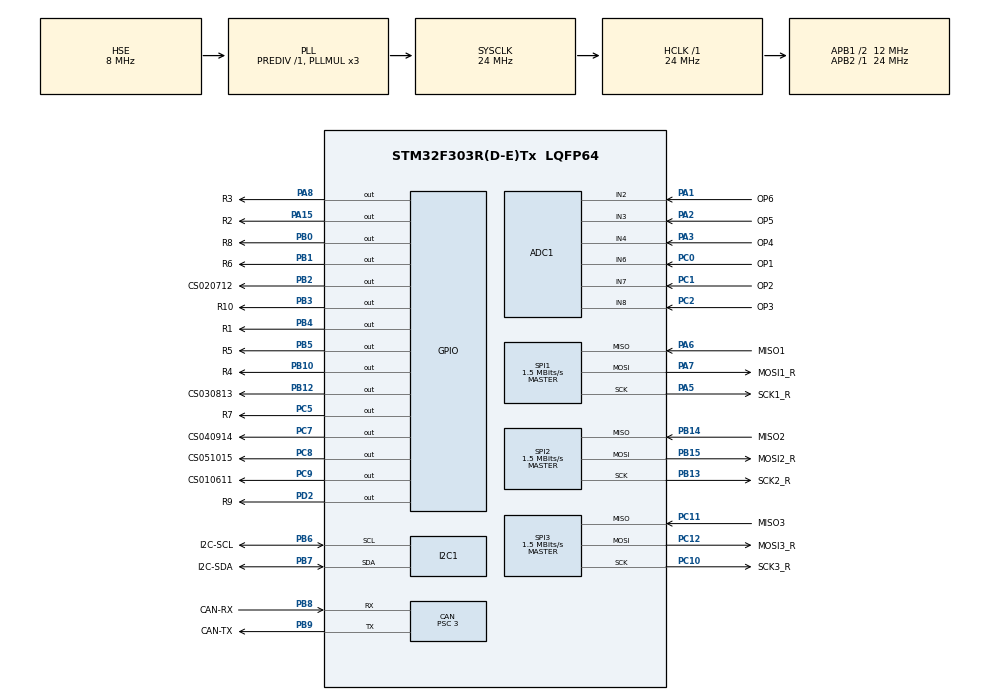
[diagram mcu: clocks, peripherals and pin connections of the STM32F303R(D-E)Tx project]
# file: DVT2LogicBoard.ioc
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ADC1.Channel-0\#ChannelRegularConversion=ADC_CHANNEL_6
ADC1.Channel-1\#ChannelRegularConversion=ADC_CHANNEL_7
ADC1.Channel-2\#ChannelRegularConversion=ADC_CHANNEL_8
ADC1.Channel-3\#ChannelRegularConversion=ADC_CHANNEL_4
ADC1.Channel-4\#ChannelRegularConversion=ADC_CHANNEL_3
ADC1.Channel-5\#ChannelRegularConversion=ADC_CHANNEL_2
ADC1.ContinuousConvMode=ENABLE
ADC1.DMAContinuousRequests=ENABLE
ADC1.EOCSelection=ADC_EOC_SEQ_CONV
ADC1.NbrOfConversion=6
ADC1.NbrOfConversionFlag=1
ADC1.Offset-0\#ChannelRegularConversion=0
ADC1.Offset-1\#ChannelRegularConversion=0
ADC1.Offset-2\#ChannelRegularConversion=0
ADC1.Offset-3\#ChannelRegularConversion=0
ADC1.Offset-4\#ChannelRegularConversion=0
ADC1.Offset-5\#ChannelRegularConversion=0
ADC1.OffsetNumber-0\#ChannelRegularConversion=ADC_OFFSET_NONE
ADC1.OffsetNumber-1\#ChannelRegularConversion=ADC_OFFSET_NONE
ADC1.OffsetNumber-2\#ChannelRegularConversion=ADC_OFFSET_NONE
ADC1.OffsetNumber-3\#ChannelRegularConversion=ADC_OFFSET_NONE
ADC1.OffsetNumber-4\#ChannelRegularConversion=ADC_OFFSET_NONE
ADC1.OffsetNumber-5\#ChannelRegularConversion=ADC_OFFSET_NONE
ADC1.Rank-0\#ChannelRegularConversion=1
ADC1.Rank-1\#ChannelRegularConversion=2
ADC1.Rank-2\#ChannelRegularConversion=3
ADC1.Rank-3\#ChannelRegularConversion=4
ADC1.Rank-4\#ChannelRegularConversion=5
ADC1.Rank-5\#ChannelRegularConversion=6
ADC1.SamplingTime-0\#ChannelRegularConversion=ADC_SAMPLETIME_61CYCLES_5
ADC1.SamplingTime-1\#ChannelRegularConversion=ADC_SAMPLETIME_61CYCLES_5
ADC1.SamplingTime-2\#ChannelRegularConversion=ADC_SAMPLETIME_61CYCLES_5
ADC1.SamplingTime-3\#ChannelRegularConversion=ADC_SAMPLETIME_61CYCLES_5
ADC1.SamplingTime-4\#ChannelRegularConversion=ADC_SAMPLETIME_61CYCLES_5
ADC1.SamplingTime-5\#ChannelRegularConversion=ADC_SAMPLETIME_61CYCLES_5
ADC1.master=1
CAN.BS1=CAN_BS1_4TQ
CAN.BS2=CAN_BS2_3TQ
CAN.CalculateTimeQuantum=250.0
CAN.Prescaler=3
Dma.ADC1.0.Direction=DMA_PERIPH_TO_MEMORY
Dma.ADC1.0.Instance=DMA1_Channel1
Dma.ADC1.0.MemDataAlignment=DMA_MDATAALIGN_WORD
Dma.ADC1.0.MemInc=DMA_MINC_ENABLE
Dma.ADC1.0.Mode=DMA_CIRCULAR
Dma.ADC1.0.PeriphDataAlignment=DMA_PDATAALIGN_WORD
Dma.ADC1.0.PeriphInc=DMA_PINC_DISABLE
Dma.ADC1.0.Priority=DMA_PRIORITY_LOW
Dma.Request0=ADC1
Mcu.Family=STM32F3
Mcu.Name=STM32F303R(D-E)Tx
Mcu.Package=LQFP64
NVIC.DMA1_Channel1_IRQn=true\:0\:0\:false\:false\:true\:false\:true
NVIC.PriorityGroup=NVIC_PRIORITYGROUP_4
NVIC.USB_LP_CAN_RX0_IRQn=true\:0\:0\:false\:false\:true\:true\:true
PA0.GPIO_Label=WKUP
PA0.Mode=SYS_WakeUp0
PA0.Signal=SYS_WKUP1
PA1.GPIO_Label=OP6
PA1.Signal=SharedAnalog_PA1
PA13.GPIO_Label=SWDIO
PA13.Mode=Serial_Wire
PA13.Signal=SYS_JTMS-SWDIO
PA14.GPIO_Label=SWCLK
PA14.Mode=Serial_Wire
PA14.Signal=SYS_JTCK-SWCLK
PA15.GPIO_Label=R2
PA15.GPIO_PuPd=GPIO_PULLDOWN
PA15.GPIO_Speed=GPIO_SPEED_FREQ_MEDIUM
PA15.Signal=GPIO_Output
PA2.GPIO_Label=OP5
PA2.Signal=SharedAnalog_PA2
PA3.GPIO_Label=OP4
PA3.Signal=SharedAnalog_PA3
PA5.GPIO_Label=SCK1_R
PA5.Mode=Full_Duplex_Master
PA5.Signal=SPI1_SCK
PA6.GPIO_Label=MISO1
PA6.Mode=Full_Duplex_Master
PA6.Signal=SPI1_MISO
PA7.GPIO_Label=MOSI1_R
PA7.Mode=Full_Duplex_Master
PA7.Signal=SPI1_MOSI
PA8.GPIO_Label=R3
PA8.GPIO_PuPd=GPIO_PULLDOWN
PA8.GPIO_Speed=GPIO_SPEED_FREQ_MEDIUM
PA8.Signal=GPIO_Output
PB0.GPIO_Label=R8
PB0.GPIO_PuPd=GPIO_PULLDOWN
PB0.GPIO_Speed=GPIO_SPEED_FREQ_MEDIUM
PB0.Signal=GPIO_Output
PB1.GPIO_Label=R6
PB1.GPIO_PuPd=GPIO_PULLDOWN
PB1.GPIO_Speed=GPIO_SPEED_FREQ_MEDIUM
PB1.Signal=GPIO_Output
PB10.GPIO_Label=R4
PB10.GPIO_PuPd=GPIO_PULLDOWN
PB10.GPIO_Speed=GPIO_SPEED_FREQ_MEDIUM
PB10.Signal=GPIO_Output
PB12.GPIO_Label=CS030813
PB12.GPIO_PuPd=GPIO_PULLUP
PB12.GPIO_Speed=GPIO_SPEED_FREQ_MEDIUM
PB12.PinState=GPIO_PIN_SET
PB12.Signal=GPIO_Output
PB13.GPIO_Label=SCK2_R
PB13.Mode=Full_Duplex_Master
PB13.Signal=SPI2_SCK
PB14.GPIO_Label=MISO2
PB14.Mode=Full_Duplex_Master
PB14.Signal=SPI2_MISO
PB15.GPIO_Label=MOSI2_R
PB15.Mode=Full_Duplex_Master
PB15.Signal=SPI2_MOSI
PB2.GPIO_Label=CS020712
PB2.GPIO_PuPd=GPIO_PULLUP
PB2.GPIO_Speed=GPIO_SPEED_FREQ_MEDIUM
PB2.PinState=GPIO_PIN_SET
PB2.Signal=GPIO_Output
PB3.GPIO_Label=R10
PB3.GPIO_PuPd=GPIO_PULLDOWN
PB3.GPIO_Speed=GPIO_SPEED_FREQ_MEDIUM
PB3.Signal=GPIO_Output
PB4.GPIO_Label=R1
PB4.GPIO_PuPd=GPIO_PULLDOWN
PB4.GPIO_Speed=GPIO_SPEED_FREQ_MEDIUM
PB4.Signal=GPIO_Output
PB5.GPIO_Label=R5
PB5.GPIO_PuPd=GPIO_PULLDOWN
PB5.GPIO_Speed=GPIO_SPEED_FREQ_MEDIUM
PB5.Signal=GPIO_Output
PB6.GPIO_Label=I2C-SCL
PB6.Mode=I2C
PB6.Signal=I2C1_SCL
PB7.GPIO_Label=I2C-SDA
PB7.Mode=I2C
PB7.Signal=I2C1_SDA
PB8.GPIO_Label=CAN-RX
PB8.Mode=Master
PB8.Signal=CAN_RX
PB9.GPIO_Label=CAN-TX
PB9.Mode=Master
PB9.Signal=CAN_TX
PC0.GPIO_Label=OP1
PC0.Signal=ADCx_IN6
PC1.GPIO_Label=OP2
PC1.Signal=ADCx_IN7
PC10.GPIO_Label=SCK3_R
PC10.Mode=Full_Duplex_Master
PC10.Signal=SPI3_SCK
PC11.GPIO_Label=MISO3
PC11.Mode=Full_Duplex_Master
PC11.Signal=SPI3_MISO
PC12.GPIO_Label=MOSI3_R
PC12.Mode=Full_Duplex_Master
PC12.Signal=SPI3_MOSI
PC14-OSC32_IN.GPIO_Label=OSC32-OUT
PC14-OSC32_IN.Mode=LSE-External-Oscillator
PC14-OSC32_IN.Signal=RCC_OSC32_IN
PC15-OSC32_OUT.GPIO_Label=OSC32-IN
PC15-OSC32_OUT.Mode=LSE-External-Oscillator
PC15-OSC32_OUT.Signal=RCC_OSC32_OUT
PC2.GPIO_Label=OP3
PC2.Signal=ADCx_IN8
PC5.GPIO_Label=R7
PC5.GPIO_PuPd=GPIO_PULLDOWN
PC5.GPIO_Speed=GPIO_SPEED_FREQ_MEDIUM
PC5.Signal=GPIO_Output
PC7.GPIO_Label=CS040914
PC7.GPIO_PuPd=GPIO_PULLUP
PC7.GPIO_Speed=GPIO_SPEED_FREQ_MEDIUM
PC7.PinState=GPIO_PIN_SET
PC7.Signal=GPIO_Output
PC8.GPIO_Label=CS051015
PC8.GPIO_PuPd=GPIO_PULLUP
PC8.GPIO_Speed=GPIO_SPEED_FREQ_MEDIUM
PC8.PinState=GPIO_PIN_SET
PC8.Signal=GPIO_Output
PC9.GPIO_Label=CS010611
PC9.GPIO_PuPd=GPIO_PULLUP
PC9.GPIO_Speed=GPIO_SPEED_FREQ_MEDIUM
PC9.PinState=GPIO_PIN_SET
PC9.Signal=GPIO_Output
PD2.GPIO_Label=R9
PD2.GPIO_PuPd=GPIO_PULLDOWN
PD2.GPIO_Speed=GPIO_SPEED_FREQ_MEDIUM
PD2.Signal=GPIO_Output
PF0-OSC_IN.GPIO_Label=OSC-IN
PF0-OSC_IN.Mode=HSE-External-Oscillator
PF0-OSC_IN.Signal=RCC_OSC_IN
PF1-OSC_OUT.GPIO_Label=OSC-OUT
PF1-OSC_OUT.Mode=HSE-External-Oscillator
PF1-OSC_OUT.Signal=RCC_OSC_OUT
ProjectManager.HeapSize=0x200
ProjectManager.StackSize=0x400
ProjectManager.TargetToolchain=STM32CubeIDE
RCC.ADC12PRES=RCC_ADC12PLLCLK_DIV4
RCC.ADC34PRES=RCC_ADC34PLLCLK_DIV2
RCC.AHBFreq_Value=24000000
RCC.APB1CLKDivider=RCC_HCLK_DIV2
RCC.APB1Freq_Value=12000000
RCC.APB1TimFreq_Value=24000000
RCC.APB2Freq_Value=24000000
RCC.APB2TimFreq_Value=24000000
RCC.CortexFreq_Value=24000000
RCC.HCLKFreq_Value=24000000
RCC.HSE_VALUE=8000000
RCC.HSI_VALUE=8000000
RCC.PLLMUL=RCC_PLL_MUL3
RCC.PLLSourceVirtual=RCC_PLLSOURCE_HSE
RCC.SYSCLKFreq_VALUE=24000000
RCC.SYSCLKSourceVirtual=RCC_SYSCLKSOURCE_PLLCLK
RCC.USBFreq_Value=24000000
SH.ADCx_IN6.0=ADC1_IN6,IN6-Single-Ended
SH.ADCx_IN7.0=ADC1_IN7,IN7-Single-Ended
SH.ADCx_IN8.0=ADC1_IN8,IN8-Single-Ended
SH.SharedAnalog_PA1.0=GPIO_Analog
SH.SharedAnalog_PA1.1=ADC1_IN2,IN2-Single-Ended
SH.SharedAnalog_PA2.0=GPIO_Analog
SH.SharedAnalog_PA2.1=ADC1_IN3,IN3-Single-Ended
SH.SharedAnalog_PA3.0=GPIO_Analog
SH.SharedAnalog_PA3.1=ADC1_IN4,IN4-Single-Ended
SPI1.BaudRatePrescaler=SPI_BAUDRATEPRESCALER_16
SPI1.CalculateBaudRate=1.5 MBits/s
SPI1.DataSize=SPI_DATASIZE_8BIT
SPI1.Direction=SPI_DIRECTION_2LINES
SPI1.Mode=SPI_MODE_MASTER
SPI1.VirtualType=VM_MASTER
SPI2.BaudRatePrescaler=SPI_BAUDRATEPRESCALER_8
SPI2.CalculateBaudRate=1.5 MBits/s
SPI2.DataSize=SPI_DATASIZE_8BIT
SPI2.Direction=SPI_DIRECTION_2LINES
SPI2.Mode=SPI_MODE_MASTER
SPI2.VirtualType=VM_MASTER
SPI3.BaudRatePrescaler=SPI_BAUDRATEPRESCALER_8
SPI3.CalculateBaudRate=1.5 MBits/s
SPI3.DataSize=SPI_DATASIZE_8BIT
SPI3.Direction=SPI_DIRECTION_2LINES
SPI3.Mode=SPI_MODE_MASTER
SPI3.VirtualType=VM_MASTER
VP_RTC_VS_RTC_Activate.Mode=RTC_Enabled
board=custom

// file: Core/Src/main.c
/* USER CODE BEGIN Header */
/**
  ******************************************************************************
  * @file           : main.c
  * @brief          : Main program body
  ******************************************************************************
  * @attention
  *
  * <h2><center>&copy; Copyright (c) 2020 STMicroelectronics.
  * All rights reserved.</center></h2>
  *
  * This software component is licensed by ST under BSD 3-Clause license,
  * the "License"; You may not use this file except in compliance with the
  * License. You may obtain a copy of the License at:
  *                        opensource.org/licenses/BSD-3-Clause
  *
  ******************************************************************************
HL Sep 03,2020

Firmware:DVT2LogicBoardSep03.bin
1.Digipot are set to 15 for all 6 Channel
2.Comment out the updatesensorvalue function call in main loop to speed up the data collecting time
3.Add some error code for temperature and humidity reading
Sep22 Version 5
1.Remove BME280 from the project
2.Subtract 10% from humidity reading
3. seperate error code for humidity < 10% and > 95%
Sep 29 Version 6
1.Power on/off the HTS221 sensor before and after read the sensor
2.Add 3 seconds delay (after power on the sensor)between temperature and humidity sensor reading
3.Add 500ms delay between pressure column reading
4. Total take more than 50seconds to finish update one cycle of data.
  */
/* USER CODE END Header */

#include "main.h"

/* USER CODE BEGIN Includes */
#include <stdlib.h>

#include "shtc3.h"
#include "MCP_Read_Write.h"
#include "HTS221_SPI.h"
#include "lis2dh12_reg.h"
#include "ReadSensorValues.h"
/* USER CODE END Includes */

ADC_HandleTypeDef hadc1;
DMA_HandleTypeDef hdma_adc1;

CAN_HandleTypeDef hcan;

I2C_HandleTypeDef hi2c1;

RTC_HandleTypeDef hrtc;

SPI_HandleTypeDef hspi1;
SPI_HandleTypeDef hspi2;
SPI_HandleTypeDef hspi3;

/* USER CODE BEGIN PV */
uint8_t CANMsgReceived = 0;

/* USER CODE END PV */

void SystemClock_Config(void);
static void MX_GPIO_Init(void);
static void MX_DMA_Init(void);
static void MX_CAN_Init(void);
static void MX_ADC1_Init(void);
static void MX_SPI1_Init(void);
static void MX_SPI2_Init(void);
static void MX_SPI3_Init(void);
static void MX_RTC_Init(void);
static void MX_I2C1_Init(void);

/* USER CODE BEGIN 0 */
void HAL_CAN_RxFifo0MsgPendingCallback(CAN_HandleTypeDef *hcan)
{
	if(HAL_CAN_GetRxMessage(hcan, CAN_RX_FIFO0, &RxHeader, RxData) != HAL_OK)
	{
		Error_Handler();
	}
	else
	{
		CANMsgReceived = 1;
	}
}
/* USER CODE END 0 */

int main(void)
{
  /* USER CODE BEGIN 1 */
	uint32_t 		RequestDeviceUID = 0;
	uint8_t  		devID,sensorID,ReqType,msgType;

  /* USER CODE END 1 */

  /* MCU Configuration--------------------------------------------------------*/

  /* Reset of all peripherals, Initializes the Flash interface and the Systick. */
  HAL_Init();
  //__enable_irq();
  /* USER CODE BEGIN Init */
  __enable_irq();
  /* USER CODE END Init */

  /* Configure the system clock */
  SystemClock_Config();

  /* Initialize all configured peripherals */
  MX_GPIO_Init();
  MX_DMA_Init();
  MX_CAN_Init();
  MX_ADC1_Init();
  MX_SPI1_Init();
  MX_SPI2_Init();
  MX_SPI3_Init();
  MX_RTC_Init();
  MX_I2C1_Init();
  /* USER CODE BEGIN 2 */
  /* USER CODE BEGIN 2 */
  // Initialize temperature and humidity sensor
	init_HTS221 ();
    // read STM32 Unique ID
	ReadUID ();

	//Initialize accelerameter
	lis2dh12_init(&dev_ctx, &hi2c1);
	//lis2dh12_get_XYZ(&dev_ctx, &Acce_X, &Acce_Y, &Acce_Z);
	HAL_Delay(50);

	//Initialize reference sonsor
	shtc3_init(&dev_ctxc3, &hi2c1, SHTC3_I2C_ADDR);
	//update reference temperature and humidity
	//shtc3_get_temp_humid(&dev_ctxc3, &ref_temp, &ref_hum);

	HAL_Delay(50);
	mcp_init();
	HAL_Delay(50);
	//uint8_t SetValues[6] = {10,10,10,10,10,10};//op6,op5,op4,op3,op2,op1 3906 2158 2354 2535 3025 3440
	//uint8_t SetValues[6] = {15,15,15,15,15,15};//op6,op5,op4,op3,op2,op1 3906 2158 2354 2535 3025 3440
	//uint8_t SetValues[6] = {20,20,20,20,20,20};//op6,op5,op4,op3,op2,op1 3906 2158 2354 2535 3025 3440
	//uint8_t SetValues[6] = {30,30,30,30,30,30};//op6,op5,op4,op3,op2,op1 3906 2158 2354 2535 3025 3440
	uint8_t SetValues[6] = {35,35,35,35,35,35};//op6,op5,op4,op3,op2,op1 3906 2158 2354 2535 3025 3440
 	Set_DigipotMCPs((uint8_t *)SetValues);

	TxHeader.IDE=CAN_ID_EXT;
	TxHeader.RTR=CAN_RTR_DATA;

	// Activat CAN after done Init
	HAL_CAN_ActivateNotification (&hcan, CAN_IT_RX_FIFO0_MSG_PENDING);
    // dump the first readings
//	update_sensor_values ();
//	update_sensor_values ();
//	update_sensor_values ();

  /* USER CODE END 2 */

  /* Infinite loop */
	while (1)
	{

    /* USER CODE BEGIN 3 */
		// waiting for CAN messages
		if(CANMsgReceived)
		{
			CANMsgReceived = 0;

			parse_can_header(RxHeader.ExtId,&devID,&sensorID,&ReqType,&msgType);

			if(devID==RECEIVER_ID || sensorID == 0x11)  // message from receiver
			{
				switch(msgType)
				{
					case DEVICEID_REQUEST_MSG:
						RequestDeviceUID = (RxData[3]<<24) | (RxData[2]<<16)| (RxData[1]<<8) | RxData[0];
						if (RequestDeviceUID == DeviceUID)
						{
							CANDeviceID = sensorID;
							send_sensor_value(&hcan, 0, DEVICEID_REQ);
						}
						break;

					case DATA_REQUEST_MSG :
						if(RxData[0] ==CANDeviceID)
						{
							send_sensor_value(&hcan, sensorID, ReqType);
						}
						break;

					case GET_REF_SENSOR_VALUE_MSG:
						send_sensor_value(&hcan, 0, HUMIDITY_REF_REQ);
						send_sensor_value(&hcan, 0, TEMPERATURE_REF_REQ);
						break;

					case GET_ACL_SENSOR_VALUE_MSG:
						lis2dh12_get_XYZ(&dev_ctx, &Acce_X, &Acce_Y, &Acce_Z);
						send_sensor_value(&hcan, 0, ACCELERAMTER_REQ);
						break;

					case SET_DIGIPOT_MSG:
						if(RxData[0] ==CANDeviceID)
						{
							//Set_DigipotMCPs(&hi2c1, (uint8_t *)&RxData[1]);
						}
						break;
					case FORCE_DATA_REQUEST:
						get_force_sensor_value ();
				        break;
					case OTHER_DATA_REQUEST:
						update_other_values();
						break;

					case UPDATE_SENSOR_VALUE_MSG:
						update_sensor_values();
						break;

					case MOVE_TO_BOOTLOADER:
						jump_to_bootloader();
						break;
					case Reboot_LB:
						Reboot();
						break;
					default: break;
						}

				}
			}
		}
//		update_sensor_values ();
	}
  /* USER CODE END 3 */

void SystemClock_Config(void)
{
  RCC_OscInitTypeDef RCC_OscInitStruct = {0};
  RCC_ClkInitTypeDef RCC_ClkInitStruct = {0};
  RCC_PeriphCLKInitTypeDef PeriphClkInit = {0};

  /** Initializes the CPU, AHB and APB busses clocks
  */
  RCC_OscInitStruct.OscillatorType = RCC_OSCILLATORTYPE_HSI|RCC_OSCILLATORTYPE_LSI
                              |RCC_OSCILLATORTYPE_HSE;
  RCC_OscInitStruct.HSEState = RCC_HSE_ON;
  RCC_OscInitStruct.HSIState = RCC_HSI_ON;
  RCC_OscInitStruct.HSICalibrationValue = RCC_HSICALIBRATION_DEFAULT;
  RCC_OscInitStruct.LSIState = RCC_LSI_ON;
  RCC_OscInitStruct.PLL.PLLState = RCC_PLL_ON;
  RCC_OscInitStruct.PLL.PLLSource = RCC_PLLSOURCE_HSE;
  RCC_OscInitStruct.PLL.PLLMUL = RCC_PLL_MUL3;
  RCC_OscInitStruct.PLL.PREDIV = RCC_PREDIV_DIV1;
  if (HAL_RCC_OscConfig(&RCC_OscInitStruct) != HAL_OK)
  {
    Error_Handler();
  }
  /** Initializes the CPU, AHB and APB busses clocks
  */
  RCC_ClkInitStruct.ClockType = RCC_CLOCKTYPE_HCLK|RCC_CLOCKTYPE_SYSCLK
                              |RCC_CLOCKTYPE_PCLK1|RCC_CLOCKTYPE_PCLK2;
  RCC_ClkInitStruct.SYSCLKSource = RCC_SYSCLKSOURCE_PLLCLK;
  RCC_ClkInitStruct.AHBCLKDivider = RCC_SYSCLK_DIV1;
  RCC_ClkInitStruct.APB1CLKDivider = RCC_HCLK_DIV2;
  RCC_ClkInitStruct.APB2CLKDivider = RCC_HCLK_DIV1;

  if (HAL_RCC_ClockConfig(&RCC_ClkInitStruct, FLASH_LATENCY_0) != HAL_OK)
  {
    Error_Handler();
  }
  PeriphClkInit.PeriphClockSelection = RCC_PERIPHCLK_I2C1|RCC_PERIPHCLK_RTC
                              |RCC_PERIPHCLK_ADC12;
  PeriphClkInit.Adc12ClockSelection = RCC_ADC12PLLCLK_DIV4;
  PeriphClkInit.I2c1ClockSelection = RCC_I2C1CLKSOURCE_HSI;
  PeriphClkInit.RTCClockSelection = RCC_RTCCLKSOURCE_LSI;
  if (HAL_RCCEx_PeriphCLKConfig(&PeriphClkInit) != HAL_OK)
  {
    Error_Handler();
  }
}

static void MX_ADC1_Init(void)
{

  ADC_MultiModeTypeDef multimode = {0};
  ADC_ChannelConfTypeDef sConfig = {0};

  /** Common config
  */
  hadc1.Instance = ADC1;
  hadc1.Init.ClockPrescaler = ADC_CLOCK_ASYNC_DIV1;
  hadc1.Init.Resolution = ADC_RESOLUTION_12B;
  hadc1.Init.ScanConvMode = ADC_SCAN_ENABLE;
  hadc1.Init.ContinuousConvMode = ENABLE;
  hadc1.Init.DiscontinuousConvMode = DISABLE;
  hadc1.Init.ExternalTrigConvEdge = ADC_EXTERNALTRIGCONVEDGE_NONE;
  hadc1.Init.ExternalTrigConv = ADC_SOFTWARE_START;
  hadc1.Init.DataAlign = ADC_DATAALIGN_RIGHT;
  hadc1.Init.NbrOfConversion = 6;
  hadc1.Init.DMAContinuousRequests = ENABLE;
  hadc1.Init.EOCSelection = ADC_EOC_SEQ_CONV;
  hadc1.Init.LowPowerAutoWait = DISABLE;
  hadc1.Init.Overrun = ADC_OVR_DATA_OVERWRITTEN;
  if (HAL_ADC_Init(&hadc1) != HAL_OK)
  {
    Error_Handler();
  }
  /** Configure the ADC multi-mode
  */
  multimode.Mode = ADC_MODE_INDEPENDENT;
  if (HAL_ADCEx_MultiModeConfigChannel(&hadc1, &multimode) != HAL_OK)
  {
    Error_Handler();
  }
  /** Configure Regular Channel
  */
  sConfig.Channel = ADC_CHANNEL_6;
  sConfig.Rank = ADC_REGULAR_RANK_1;
  sConfig.SingleDiff = ADC_SINGLE_ENDED;
  sConfig.SamplingTime = ADC_SAMPLETIME_61CYCLES_5;
  sConfig.OffsetNumber = ADC_OFFSET_NONE;
  sConfig.Offset = 0;
  if (HAL_ADC_ConfigChannel(&hadc1, &sConfig) != HAL_OK)
  {
    Error_Handler();
  }
  /** Configure Regular Channel
  */
  sConfig.Channel = ADC_CHANNEL_7;
  sConfig.Rank = ADC_REGULAR_RANK_2;
  if (HAL_ADC_ConfigChannel(&hadc1, &sConfig) != HAL_OK)
  {
    Error_Handler();
  }
  /** Configure Regular Channel
  */
  sConfig.Channel = ADC_CHANNEL_8;
  sConfig.Rank = ADC_REGULAR_RANK_3;
  if (HAL_ADC_ConfigChannel(&hadc1, &sConfig) != HAL_OK)
  {
    Error_Handler();
  }
  /** Configure Regular Channel
  */
  sConfig.Channel = ADC_CHANNEL_4;
  sConfig.Rank = ADC_REGULAR_RANK_4;
  if (HAL_ADC_ConfigChannel(&hadc1, &sConfig) != HAL_OK)
  {
    Error_Handler();
  }
  /** Configure Regular Channel
  */
  sConfig.Channel = ADC_CHANNEL_3;
  sConfig.Rank = ADC_REGULAR_RANK_5;
  if (HAL_ADC_ConfigChannel(&hadc1, &sConfig) != HAL_OK)
  {
    Error_Handler();
  }
  /** Configure Regular Channel
  */
  sConfig.Channel = ADC_CHANNEL_2;
  sConfig.Rank = ADC_REGULAR_RANK_6;
  if (HAL_ADC_ConfigChannel(&hadc1, &sConfig) != HAL_OK)
  {
    Error_Handler();
  }

}

static void MX_CAN_Init(void)
{

  hcan.Instance = CAN;
  hcan.Init.Prescaler = 3;
  hcan.Init.Mode = CAN_MODE_NORMAL;
  hcan.Init.SyncJumpWidth = CAN_SJW_1TQ;
  hcan.Init.TimeSeg1 = CAN_BS1_4TQ;
  hcan.Init.TimeSeg2 = CAN_BS2_3TQ;
  hcan.Init.TimeTriggeredMode = DISABLE;
  hcan.Init.AutoBusOff = DISABLE;
  hcan.Init.AutoWakeUp = DISABLE;
  hcan.Init.AutoRetransmission = DISABLE;
  hcan.Init.ReceiveFifoLocked = DISABLE;
  hcan.Init.TransmitFifoPriority = DISABLE;
  if (HAL_CAN_Init(&hcan) != HAL_OK)
  {
    Error_Handler();
  }
  /* USER CODE BEGIN CAN_Init 2 */

  CAN_FilterTypeDef sFilter;

  	sFilter.FilterMode = CAN_FILTERMODE_IDMASK;
  	sFilter.FilterScale = CAN_FILTERSCALE_32BIT;
  	sFilter.FilterIdHigh = 0x0000;//0x1fff;//0xffff;
  	sFilter.FilterIdLow = 0x0000;//0xffff;//0x0000;
  	sFilter.FilterMaskIdHigh = 0x0000;//0xffff;
  	sFilter.FilterMaskIdLow = 0x0000;
  	sFilter.FilterFIFOAssignment = CAN_RX_FIFO0;
  	sFilter.FilterActivation = ENABLE;
  	sFilter.FilterBank = 1;//14;

  	if (HAL_CAN_ConfigFilter(&hcan, &sFilter) != HAL_OK)
  	{
  		/* Filter configuration Error */
  		Error_Handler();
  	}
     /* ## -3- Start the CAN peripheral ############################### */
     if (HAL_CAN_Start(&hcan) != HAL_OK)
     {
         /* Start Error */
         Error_Handler();
     }
  /* USER CODE END CAN_Init 2 */

}

static void MX_I2C1_Init(void)
{

  hi2c1.Instance = I2C1;
  hi2c1.Init.Timing = 0x2000090E;
  hi2c1.Init.OwnAddress1 = 0;
  hi2c1.Init.AddressingMode = I2C_ADDRESSINGMODE_7BIT;
  hi2c1.Init.DualAddressMode = I2C_DUALADDRESS_DISABLE;
  hi2c1.Init.OwnAddress2 = 0;
  hi2c1.Init.OwnAddress2Masks = I2C_OA2_NOMASK;
  hi2c1.Init.GeneralCallMode = I2C_GENERALCALL_DISABLE;
  hi2c1.Init.NoStretchMode = I2C_NOSTRETCH_DISABLE;
  if (HAL_I2C_Init(&hi2c1) != HAL_OK)
  {
    Error_Handler();
  }
  /** Configure Analogue filter
  */
  if (HAL_I2CEx_ConfigAnalogFilter(&hi2c1, I2C_ANALOGFILTER_ENABLE) != HAL_OK)
  {
    Error_Handler();
  }
  /** Configure Digital filter
  */
  if (HAL_I2CEx_ConfigDigitalFilter(&hi2c1, 0) != HAL_OK)
  {
    Error_Handler();
  }

}

static void MX_RTC_Init(void)
{

  /** Initialize RTC Only
  */
  hrtc.Instance = RTC;
  hrtc.Init.HourFormat = RTC_HOURFORMAT_24;
  hrtc.Init.AsynchPrediv = 127;
  hrtc.Init.SynchPrediv = 255;
  hrtc.Init.OutPut = RTC_OUTPUT_DISABLE;
  hrtc.Init.OutPutPolarity = RTC_OUTPUT_POLARITY_HIGH;
  hrtc.Init.OutPutType = RTC_OUTPUT_TYPE_OPENDRAIN;
  if (HAL_RTC_Init(&hrtc) != HAL_OK)
  {
    Error_Handler();
  }

}

static void MX_SPI1_Init(void)
{

  /* SPI1 parameter configuration*/
  hspi1.Instance = SPI1;
  hspi1.Init.Mode = SPI_MODE_MASTER;
  hspi1.Init.Direction = SPI_DIRECTION_2LINES;
  hspi1.Init.DataSize = SPI_DATASIZE_8BIT;
  hspi1.Init.CLKPolarity = SPI_POLARITY_LOW;
  hspi1.Init.CLKPhase = SPI_PHASE_1EDGE;
  hspi1.Init.NSS = SPI_NSS_SOFT;
  hspi1.Init.BaudRatePrescaler = SPI_BAUDRATEPRESCALER_16;
  hspi1.Init.FirstBit = SPI_FIRSTBIT_MSB;
  hspi1.Init.TIMode = SPI_TIMODE_DISABLE;
  hspi1.Init.CRCCalculation = SPI_CRCCALCULATION_DISABLE;
  hspi1.Init.CRCPolynomial = 7;
  hspi1.Init.CRCLength = SPI_CRC_LENGTH_DATASIZE;
  hspi1.Init.NSSPMode = SPI_NSS_PULSE_ENABLE;
  if (HAL_SPI_Init(&hspi1) != HAL_OK)
  {
    Error_Handler();
  }

}

static void MX_SPI2_Init(void)
{

  /* SPI2 parameter configuration*/
  hspi2.Instance = SPI2;
  hspi2.Init.Mode = SPI_MODE_MASTER;
  hspi2.Init.Direction = SPI_DIRECTION_2LINES;
  hspi2.Init.DataSize = SPI_DATASIZE_8BIT;
  hspi2.Init.CLKPolarity = SPI_POLARITY_LOW;
  hspi2.Init.CLKPhase = SPI_PHASE_1EDGE;
  hspi2.Init.NSS = SPI_NSS_SOFT;
  hspi2.Init.BaudRatePrescaler = SPI_BAUDRATEPRESCALER_8;
  hspi2.Init.FirstBit = SPI_FIRSTBIT_MSB;
  hspi2.Init.TIMode = SPI_TIMODE_DISABLE;
  hspi2.Init.CRCCalculation = SPI_CRCCALCULATION_DISABLE;
  hspi2.Init.CRCPolynomial = 7;
  hspi2.Init.CRCLength = SPI_CRC_LENGTH_DATASIZE;
  hspi2.Init.NSSPMode = SPI_NSS_PULSE_ENABLE;
  if (HAL_SPI_Init(&hspi2) != HAL_OK)
  {
    Error_Handler();
  }

}

static void MX_SPI3_Init(void)
{

  /* SPI3 parameter configuration*/
  hspi3.Instance = SPI3;
  hspi3.Init.Mode = SPI_MODE_MASTER;
  hspi3.Init.Direction = SPI_DIRECTION_2LINES;
  hspi3.Init.DataSize = SPI_DATASIZE_8BIT;
  hspi3.Init.CLKPolarity = SPI_POLARITY_LOW;
  hspi3.Init.CLKPhase = SPI_PHASE_1EDGE;
  hspi3.Init.NSS = SPI_NSS_SOFT;
  hspi3.Init.BaudRatePrescaler = SPI_BAUDRATEPRESCALER_8;
  hspi3.Init.FirstBit = SPI_FIRSTBIT_MSB;
  hspi3.Init.TIMode = SPI_TIMODE_DISABLE;
  hspi3.Init.CRCCalculation = SPI_CRCCALCULATION_DISABLE;
  hspi3.Init.CRCPolynomial = 7;
  hspi3.Init.CRCLength = SPI_CRC_LENGTH_DATASIZE;
  hspi3.Init.NSSPMode = SPI_NSS_PULSE_ENABLE;
  if (HAL_SPI_Init(&hspi3) != HAL_OK)
  {
    Error_Handler();
  }

}

static void MX_DMA_Init(void)
{

  /* DMA controller clock enable */
  __HAL_RCC_DMA1_CLK_ENABLE();

  /* DMA interrupt init */
  /* DMA1_Channel1_IRQn interrupt configuration */
  HAL_NVIC_SetPriority(DMA1_Channel1_IRQn, 0, 0);
  HAL_NVIC_EnableIRQ(DMA1_Channel1_IRQn);

}

static void MX_GPIO_Init(void)
{
  GPIO_InitTypeDef GPIO_InitStruct = {0};

  /* GPIO Ports Clock Enable */
  __HAL_RCC_GPIOC_CLK_ENABLE();
  __HAL_RCC_GPIOF_CLK_ENABLE();
  __HAL_RCC_GPIOA_CLK_ENABLE();
  __HAL_RCC_GPIOB_CLK_ENABLE();
  __HAL_RCC_GPIOD_CLK_ENABLE();

  /*Configure GPIO pin Output Level */
  HAL_GPIO_WritePin(R7_GPIO_Port, R7_Pin, GPIO_PIN_RESET);

  /*Configure GPIO pin Output Level */
  HAL_GPIO_WritePin(GPIOB, R8_Pin|R6_Pin|R4_Pin|R10_Pin
                          |R1_Pin|R5_Pin, GPIO_PIN_RESET);

  /*Configure GPIO pin Output Level */
  HAL_GPIO_WritePin(GPIOB, CS020712_Pin|CS030813_Pin, GPIO_PIN_SET);

  /*Configure GPIO pin Output Level */
  HAL_GPIO_WritePin(GPIOC, CS040914_Pin|CS051015_Pin|CS010611_Pin, GPIO_PIN_SET);

  /*Configure GPIO pin Output Level */
  HAL_GPIO_WritePin(GPIOA, R3_Pin|R2_Pin, GPIO_PIN_RESET);

  /*Configure GPIO pin Output Level */
  HAL_GPIO_WritePin(R9_GPIO_Port, R9_Pin, GPIO_PIN_RESET);

  /*Configure GPIO pins : OP6_Pin OP5_Pin OP4_Pin */
  GPIO_InitStruct.Pin = OP6_Pin|OP5_Pin|OP4_Pin;
  GPIO_InitStruct.Mode = GPIO_MODE_ANALOG;
  GPIO_InitStruct.Pull = GPIO_NOPULL;
  HAL_GPIO_Init(GPIOA, &GPIO_InitStruct);

  /*Configure GPIO pin : R7_Pin */
  GPIO_InitStruct.Pin = R7_Pin;
  GPIO_InitStruct.Mode = GPIO_MODE_OUTPUT_PP;
  GPIO_InitStruct.Pull = GPIO_PULLDOWN;
  GPIO_InitStruct.Speed = GPIO_SPEED_FREQ_MEDIUM;
  HAL_GPIO_Init(R7_GPIO_Port, &GPIO_InitStruct);

  /*Configure GPIO pins : R8_Pin R6_Pin R4_Pin R10_Pin
                           R1_Pin R5_Pin */
  GPIO_InitStruct.Pin = R8_Pin|R6_Pin|R4_Pin|R10_Pin
                          |R1_Pin|R5_Pin;
  GPIO_InitStruct.Mode = GPIO_MODE_OUTPUT_PP;
  GPIO_InitStruct.Pull = GPIO_PULLDOWN;
  GPIO_InitStruct.Speed = GPIO_SPEED_FREQ_MEDIUM;
  HAL_GPIO_Init(GPIOB, &GPIO_InitStruct);

  /*Configure GPIO pins : CS020712_Pin CS030813_Pin */
  GPIO_InitStruct.Pin = CS020712_Pin|CS030813_Pin;
  GPIO_InitStruct.Mode = GPIO_MODE_OUTPUT_PP;
  GPIO_InitStruct.Pull = GPIO_PULLUP;
  GPIO_InitStruct.Speed = GPIO_SPEED_FREQ_MEDIUM;
  HAL_GPIO_Init(GPIOB, &GPIO_InitStruct);

  /*Configure GPIO pins : CS040914_Pin CS051015_Pin CS010611_Pin */
  GPIO_InitStruct.Pin = CS040914_Pin|CS051015_Pin|CS010611_Pin;
  GPIO_InitStruct.Mode = GPIO_MODE_OUTPUT_PP;
  GPIO_InitStruct.Pull = GPIO_PULLUP;
  GPIO_InitStruct.Speed = GPIO_SPEED_FREQ_MEDIUM;
  HAL_GPIO_Init(GPIOC, &GPIO_InitStruct);

  /*Configure GPIO pins : R3_Pin R2_Pin */
  GPIO_InitStruct.Pin = R3_Pin|R2_Pin;
  GPIO_InitStruct.Mode = GPIO_MODE_OUTPUT_PP;
  GPIO_InitStruct.Pull = GPIO_PULLDOWN;
  GPIO_InitStruct.Speed = GPIO_SPEED_FREQ_MEDIUM;
  HAL_GPIO_Init(GPIOA, &GPIO_InitStruct);

  /*Configure GPIO pin : R9_Pin */
  GPIO_InitStruct.Pin = R9_Pin;
  GPIO_InitStruct.Mode = GPIO_MODE_OUTPUT_PP;
  GPIO_InitStruct.Pull = GPIO_PULLDOWN;
  GPIO_InitStruct.Speed = GPIO_SPEED_FREQ_MEDIUM;
  HAL_GPIO_Init(R9_GPIO_Port, &GPIO_InitStruct);

}

/* USER CODE BEGIN 4 */
void jump_to_bootloader(void){
//	NVIC_SystemReset();
	HAL_RCC_DeInit();
	HAL_DeInit();
	SysTick->CTRL = 0;
	SysTick->LOAD = 0;
	SysTick->VAL = 0;
	HAL_GPIO_DeInit(R7_GPIO_Port, R7_Pin);

	  /*Configure GPIO pin Output Level */
	HAL_GPIO_DeInit(GPIOB, R8_Pin);
	HAL_GPIO_DeInit(GPIOB, R6_Pin);
	HAL_GPIO_DeInit(GPIOB, R4_Pin);
	HAL_GPIO_DeInit(GPIOB, R10_Pin);
	HAL_GPIO_DeInit(GPIOB, R1_Pin);
	HAL_GPIO_DeInit(GPIOB, R1_Pin);
	HAL_GPIO_DeInit(GPIOB, R5_Pin);

	HAL_GPIO_DeInit(GPIOB, CS020712_Pin);
	HAL_GPIO_DeInit(GPIOB, CS030813_Pin);
	HAL_GPIO_DeInit(GPIOC, CS040914_Pin);
	HAL_GPIO_DeInit(GPIOB, CS051015_Pin);
	HAL_GPIO_DeInit(GPIOB, CS010611_Pin);
	HAL_GPIO_DeInit(GPIOA, R3_Pin);
	HAL_GPIO_DeInit(GPIOA, R2_Pin);
	HAL_GPIO_DeInit(R9_GPIO_Port, R9_Pin);

	HAL_CAN_DeInit(&hcan);
	__HAL_RCC_DMA1_CLK_DISABLE();
	HAL_SPI_DeInit(&hspi1);
	HAL_SPI_DeInit(&hspi2);
	HAL_SPI_DeInit(&hspi3);
	HAL_I2C_DeInit(&hi2c1);
	HAL_ADC_DeInit(&hadc1);

	/*Disable all interrupts */
	__disable_irq();
	/* ARM Cortex-M Programming Guide to Memory Barrier Instructions.*/
	//__DSB();
	__HAL_SYSCFG_REMAPMEMORY_SYSTEMFLASH();
	/* Remap is bot visible at once. Execute some unrelated command! */
	__DSB();
	__ISB();
	SCB->VTOR = 0x8000000;
	void (*app_reset_handler)(void);
	uint32_t msp_value = *(volatile uint32_t*)(0x8000000);
	__set_MSP(msp_value);
	uint32_t resethandler_address = *(volatile uint32_t*)(0x8000000 +4);
	app_reset_handler = (void *) resethandler_address;
	app_reset_handler();
}

void Reboot(void){
	//SCB->AIRCR = 0x05FA0000 | (uint32_t) 0x04;
	NVIC_SystemReset();
}
/* USER CODE END 4 */

void Error_Handler(void)
{
}

/************************ (C) COPYRIGHT STMicroelectronics *****END OF FILE****/
